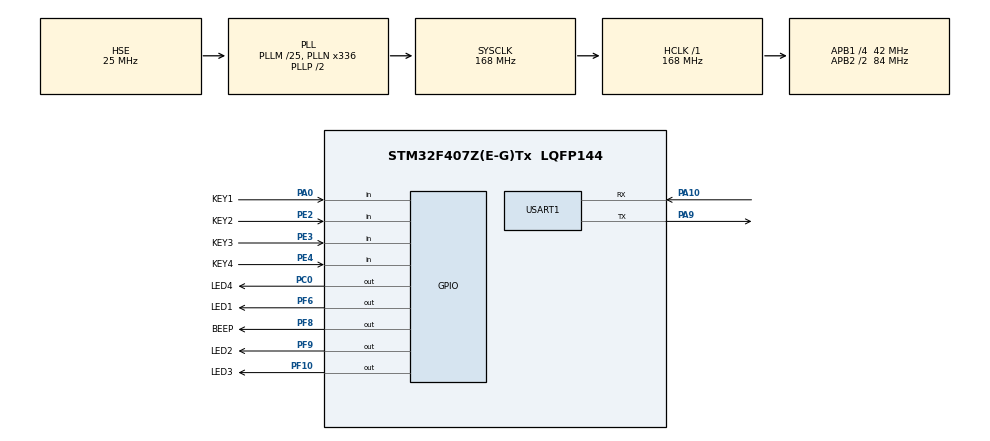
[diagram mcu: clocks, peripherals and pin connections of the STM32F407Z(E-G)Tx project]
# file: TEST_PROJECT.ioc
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Mcu.Family=STM32F4
Mcu.Name=STM32F407Z(E-G)Tx
Mcu.Package=LQFP144
NVIC.PriorityGroup=NVIC_PRIORITYGROUP_4
PA0-WKUP.GPIO_Label=KEY1
PA0-WKUP.Signal=GPIO_Input
PA10.Mode=Asynchronous
PA10.Signal=USART1_RX
PA13.Mode=Trace_Asynchronous_SW
PA13.Signal=SYS_JTMS-SWDIO
PA14.Mode=Trace_Asynchronous_SW
PA14.Signal=SYS_JTCK-SWCLK
PA9.Mode=Asynchronous
PA9.Signal=USART1_TX
PB3.Mode=Trace_Asynchronous_SW
PB3.Signal=SYS_JTDO-SWO
PC0.GPIO_Label=LED4
PC0.PinState=GPIO_PIN_SET
PC0.Signal=GPIO_Output
PC14-OSC32_IN.Mode=LSE-External-Oscillator
PC14-OSC32_IN.Signal=RCC_OSC32_IN
PC15-OSC32_OUT.Mode=LSE-External-Oscillator
PC15-OSC32_OUT.Signal=RCC_OSC32_OUT
PE2.GPIO_Label=KEY2
PE2.Signal=GPIO_Input
PE3.GPIO_Label=KEY3
PE3.Signal=GPIO_Input
PE4.GPIO_Label=KEY4
PE4.Signal=GPIO_Input
PF10.GPIO_Label=LED3
PF10.PinState=GPIO_PIN_SET
PF10.Signal=GPIO_Output
PF6.GPIO_Label=LED1
PF6.PinState=GPIO_PIN_SET
PF6.Signal=GPIO_Output
PF8.GPIO_Label=BEEP
PF8.GPIO_PuPd=GPIO_NOPULL
PF8.Signal=GPIO_Output
PF9.GPIO_Label=LED2
PF9.PinState=GPIO_PIN_SET
PF9.Signal=GPIO_Output
PH0-OSC_IN.Mode=HSE-External-Oscillator
PH0-OSC_IN.Signal=RCC_OSC_IN
PH1-OSC_OUT.Mode=HSE-External-Oscillator
PH1-OSC_OUT.Signal=RCC_OSC_OUT
ProjectManager.HeapSize=0x200
ProjectManager.StackSize=0x400
ProjectManager.TargetToolchain=MDK-ARM V5.32
RCC.48MHZClocksFreq_Value=84000000
RCC.AHBFreq_Value=168000000
RCC.APB1CLKDivider=RCC_HCLK_DIV4
RCC.APB1Freq_Value=42000000
RCC.APB1TimFreq_Value=84000000
RCC.APB2CLKDivider=RCC_HCLK_DIV2
RCC.APB2Freq_Value=84000000
RCC.APB2TimFreq_Value=168000000
RCC.CortexFreq_Value=168000000
RCC.HCLKFreq_Value=168000000
RCC.HSE_VALUE=25000000
RCC.HSI_VALUE=16000000
RCC.PLLM=25
RCC.PLLN=336
RCC.PLLSourceVirtual=RCC_PLLSOURCE_HSE
RCC.SYSCLKFreq_VALUE=168000000
RCC.SYSCLKSource=RCC_SYSCLKSOURCE_PLLCLK
RCC.VCOOutputFreq_Value=336000000
USART1.VirtualMode=VM_ASYNC
board=custom

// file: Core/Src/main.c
/* USER CODE BEGIN Header */
/**
  ******************************************************************************
  * @file           : main.c
  * @brief          : Main program body
  ******************************************************************************
  * @attention
  *
  * Copyright (c) 2023 STMicroelectronics.
  * All rights reserved.
  *
  * This software is licensed under terms that can be found in the LICENSE file
  * in the root directory of this software component.
  * If no LICENSE file comes with this software, it is provided AS-IS.
  *
  ******************************************************************************
  */
/* USER CODE END Header */
#include "main.h"

/* USER CODE BEGIN Includes */
#include "usart1.h"
#include "delay.h"
#include "led.h"
#include "key.h"
#include "beep.h"
/* USER CODE END Includes */

void SystemClock_Config(void);

int main(void)
{
  /* USER CODE BEGIN 1 */
  uint8_t key;
  /* USER CODE END 1 */

  /* MCU Configuration--------------------------------------------------------*/

  /* Reset of all peripherals, Initializes the Flash interface and the Systick. */
  HAL_Init();

  /* USER CODE BEGIN Init */
  delay_init(168);
  /* USER CODE END Init */

  /* Configure the system clock */
  SystemClock_Config();

  /* Initialize all configured peripherals */
  LED_GPIO_Init();
  KEY_GPIO_Init();
  BEEP_GPIO_Init();
  MX_USART1_UART_Init();

  /* Infinite loop */
  /* USER CODE BEGIN WHILE */
  HAL_UART_Transmit(&huart1,(const uint8_t *)"Init finish\r\n",13,1000);
  printf("printf()\r\n");
  while (1)
  {
    key = Key_Scanf(0);
    if(key)
    {
      switch(key)
      {
        case KEY1_PRESS:
          BEEP_TOGGLE();
          LED1_TOGGLE();
          break;
        case KEY2_PRESS:
          LED2_TOGGLE();
          break;
        case KEY3_PRESS:
          LED3_TOGGLE();
          break;
        case KEY4_PRESS:
          LED4_TOGGLE();
          break;
        default:break;
      }

      /* USER CODE END WHILE */

    }
  }
}

void SystemClock_Config(void)
{
  RCC_OscInitTypeDef RCC_OscInitStruct = {0};
  RCC_ClkInitTypeDef RCC_ClkInitStruct = {0};

  /** Configure the main internal regulator output voltage
  */
  __HAL_RCC_PWR_CLK_ENABLE();
  __HAL_PWR_VOLTAGESCALING_CONFIG(PWR_REGULATOR_VOLTAGE_SCALE1);

  /** Initializes the RCC Oscillators according to the specified parameters
  * in the RCC_OscInitTypeDef structure.
  */
  RCC_OscInitStruct.OscillatorType = RCC_OSCILLATORTYPE_HSE;
  RCC_OscInitStruct.HSEState = RCC_HSE_ON;
  RCC_OscInitStruct.PLL.PLLState = RCC_PLL_ON;
  RCC_OscInitStruct.PLL.PLLSource = RCC_PLLSOURCE_HSE;
  RCC_OscInitStruct.PLL.PLLM = 25;
  RCC_OscInitStruct.PLL.PLLN = 336;
  RCC_OscInitStruct.PLL.PLLP = RCC_PLLP_DIV2;
  RCC_OscInitStruct.PLL.PLLQ = 4;
  if (HAL_RCC_OscConfig(&RCC_OscInitStruct) != HAL_OK)
  {
    Error_Handler();
  }

  /** Initializes the CPU, AHB and APB buses clocks
  */
  RCC_ClkInitStruct.ClockType = RCC_CLOCKTYPE_HCLK|RCC_CLOCKTYPE_SYSCLK
                              |RCC_CLOCKTYPE_PCLK1|RCC_CLOCKTYPE_PCLK2;
  RCC_ClkInitStruct.SYSCLKSource = RCC_SYSCLKSOURCE_PLLCLK;
  RCC_ClkInitStruct.AHBCLKDivider = RCC_SYSCLK_DIV1;
  RCC_ClkInitStruct.APB1CLKDivider = RCC_HCLK_DIV4;
  RCC_ClkInitStruct.APB2CLKDivider = RCC_HCLK_DIV2;

  if (HAL_RCC_ClockConfig(&RCC_ClkInitStruct, FLASH_LATENCY_5) != HAL_OK)
  {
    Error_Handler();
  }
}

void Error_Handler(void)
{
  __disable_irq();
  while (1)
  {
  }
}
